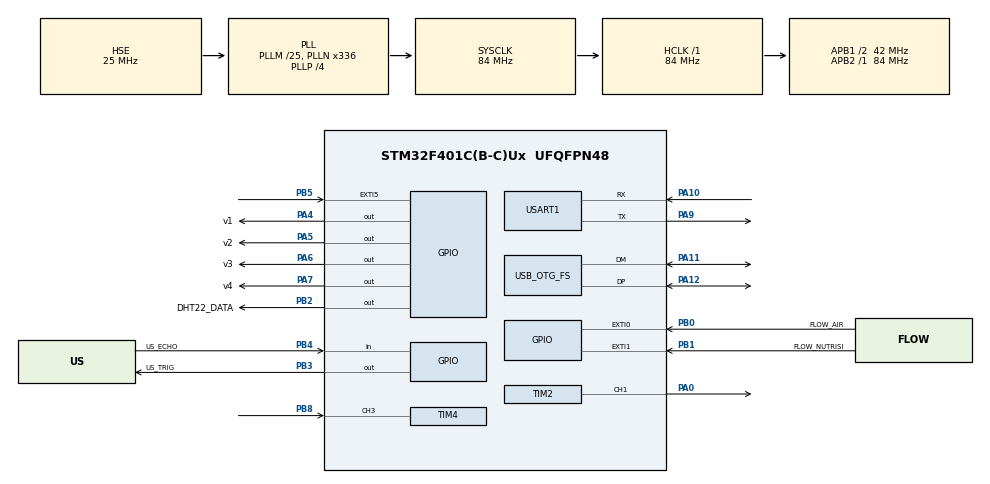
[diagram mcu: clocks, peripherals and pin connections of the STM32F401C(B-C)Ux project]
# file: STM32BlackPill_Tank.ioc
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Dma.Request0=TIM4_CH3
Dma.TIM4_CH3.0.Direction=DMA_PERIPH_TO_MEMORY
Dma.TIM4_CH3.0.FIFOMode=DMA_FIFOMODE_DISABLE
Dma.TIM4_CH3.0.Instance=DMA1_Stream7
Dma.TIM4_CH3.0.MemDataAlignment=DMA_MDATAALIGN_WORD
Dma.TIM4_CH3.0.MemInc=DMA_MINC_ENABLE
Dma.TIM4_CH3.0.Mode=DMA_NORMAL
Dma.TIM4_CH3.0.PeriphDataAlignment=DMA_PDATAALIGN_WORD
Dma.TIM4_CH3.0.PeriphInc=DMA_PINC_DISABLE
Dma.TIM4_CH3.0.Priority=DMA_PRIORITY_LOW
FREERTOS.Tasks01=defaultTask,0,128,StartDefaultTask,Default,NULL,Dynamic,NULL,NULL;TaskTelemetry,0,512,StartTaskTelemetry,Default,NULL,Dynamic,NULL,NULL;TaskIrrigation,0,256,StartTaskIrrigation,Default,NULL,Dynamic,NULL,NULL
FREERTOS.configUSE_NEWLIB_REENTRANT=1
Mcu.Family=STM32F4
Mcu.Name=STM32F401C(B-C)Ux
Mcu.Package=UFQFPN48
NVIC.DMA1_Stream7_IRQn=true\:5\:0\:false\:false\:true\:true\:false\:true\:true
NVIC.EXTI0_IRQn=true\:5\:0\:false\:false\:true\:true\:true\:true\:true
NVIC.EXTI1_IRQn=true\:5\:0\:false\:false\:true\:true\:true\:true\:true
NVIC.EXTI9_5_IRQn=true\:5\:0\:false\:false\:true\:true\:true\:true\:true
NVIC.OTG_FS_IRQn=true\:5\:0\:false\:false\:true\:true\:false\:true\:true
NVIC.PriorityGroup=NVIC_PRIORITYGROUP_4
NVIC.TIM5_IRQn=true\:15\:0\:false\:false\:true\:false\:false\:true\:true
NVIC.TimeBase=TIM5_IRQn
NVIC.TimeBaseIP=TIM5
NVIC.USART1_IRQn=true\:5\:0\:false\:false\:true\:true\:true\:true\:true
PA0-WKUP.Signal=S_TIM2_CH1_ETR
PA10.Mode=Asynchronous
PA10.Signal=USART1_RX
PA11.Mode=Device_Only
PA11.Signal=USB_OTG_FS_DM
PA12.Mode=Device_Only
PA12.Signal=USB_OTG_FS_DP
PA4.GPIO_Label=v1
PA4.Signal=GPIO_Output
PA5.GPIO_Label=v2
PA5.Signal=GPIO_Output
PA6.GPIO_Label=v3
PA6.Signal=GPIO_Output
PA7.GPIO_Label=v4
PA7.Signal=GPIO_Output
PA9.Mode=Asynchronous
PA9.Signal=USART1_TX
PB0.GPIO_Label=FLOW_AIR
PB0.Signal=GPXTI0
PB1.GPIO_Label=FLOW_NUTRISI
PB1.Signal=GPXTI1
PB2.GPIO_Label=DHT22_DATA
PB2.GPIO_ModeDefaultOutputPP=GPIO_MODE_OUTPUT_OD
PB2.GPIO_PuPd=GPIO_NOPULL
PB2.GPIO_Speed=GPIO_SPEED_FREQ_HIGH
PB2.Signal=GPIO_Output
PB3.GPIO_Label=US_TRIG
PB3.Signal=GPIO_Output
PB4.GPIO_Label=US_ECHO
PB4.Signal=GPIO_Input
PB5.GPIO_ModeDefaultEXTI=GPIO_MODE_IT_FALLING
PB5.GPIO_PuPd=GPIO_PULLUP
PB5.Signal=GPXTI5
PB8.Signal=S_TIM4_CH3
PH0\ -\ OSC_IN.Mode=HSE-External-Oscillator
PH0\ -\ OSC_IN.Signal=RCC_OSC_IN
PH1\ -\ OSC_OUT.Mode=HSE-External-Oscillator
PH1\ -\ OSC_OUT.Signal=RCC_OSC_OUT
ProjectManager.HeapSize=0x200
ProjectManager.StackSize=0x400
ProjectManager.TargetToolchain=STM32CubeIDE
RCC.48MHZClocksFreq_Value=48000000
RCC.AHBFreq_Value=84000000
RCC.APB1CLKDivider=RCC_HCLK_DIV2
RCC.APB1Freq_Value=42000000
RCC.APB1TimFreq_Value=84000000
RCC.APB2Freq_Value=84000000
RCC.APB2TimFreq_Value=84000000
RCC.CortexFreq_Value=84000000
RCC.HCLKFreq_Value=84000000
RCC.HSE_VALUE=25000000
RCC.HSI_VALUE=16000000
RCC.LSE_VALUE=32768
RCC.PLLM=25
RCC.PLLN=336
RCC.PLLP=RCC_PLLP_DIV4
RCC.PLLQ=7
RCC.SYSCLKFreq_VALUE=84000000
RCC.SYSCLKSource=RCC_SYSCLKSOURCE_PLLCLK
RCC.VCOOutputFreq_Value=336000000
SH.S_TIM2_CH1_ETR.0=TIM2_CH1,PWM Generation1 CH1
SH.S_TIM4_CH3.0=TIM4_CH3,Input_Capture3_from_TI3
TIM2.Channel-PWM\ Generation1\ CH1=TIM_CHANNEL_1
TIM2.Period=100
TIM2.Prescaler=41
TIM4.Channel-Input_Capture3_from_TI3=TIM_CHANNEL_3
TIM4.ICPolarity_CH3=TIM_INPUTCHANNELPOLARITY_FALLING
TIM4.Prescaler=83
USART1.VirtualMode=VM_ASYNC
USB_DEVICE.CLASS_NAME_FS=CDC
USB_DEVICE.VirtualMode=Cdc
USB_DEVICE.VirtualModeFS=Cdc_FS
USB_OTG_FS.VirtualMode=Device_Only
VP_FREERTOS_VS_CMSIS_V1.Mode=CMSIS_V1
VP_RTC_VS_RTC_Activate.Mode=RTC_Enabled
VP_SYS_VS_tim5.Mode=TIM5
VP_TIM4_VS_ClockSourceINT.Mode=Internal
VP_USB_DEVICE_VS_USB_DEVICE_CDC_FS.Mode=CDC_FS
board=custom

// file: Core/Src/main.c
/* USER CODE BEGIN Header */
/**
 ******************************************************************************
 * @file           : main.c
 * @brief          : Main program body
 ******************************************************************************
 * @attention
 *
 * Copyright (c) 2026 STMicroelectronics.
 * All rights reserved.
 *
 * This software is licensed under terms that can be found in the LICENSE file
 * in the root directory of this software component.
 * If no LICENSE file comes with this software, it is provided AS-IS.
 *
 ******************************************************************************
 */
/* USER CODE END Header */
#include "main.h"
#include "cmsis_os.h"
#include "usb_device.h"

/* USER CODE BEGIN Includes */
#include "usbd_cdc_if.h"
#include <math.h>
#include <stdio.h>
#include <stdlib.h>
#include <string.h>

/* USER CODE END Includes */

/* USER CODE BEGIN PD */
#define PORT_VALVE GPIOA
#define VALVE_AIR GPIO_PIN_4
#define VALVE_NUTRISI GPIO_PIN_5
#define VALVE_MIX GPIO_PIN_6
#define VALVE_IRIGASI GPIO_PIN_7

#define POMPA_ON(speed) __HAL_TIM_SET_COMPARE(&htim2, TIM_CHANNEL_1, speed)
#define POMPA_OFF() __HAL_TIM_SET_COMPARE(&htim2, TIM_CHANNEL_1, 0)
#define VALVE_ON(pin) HAL_GPIO_WritePin(PORT_VALVE, pin, GPIO_PIN_SET)
#define VALVE_OFF(pin) HAL_GPIO_WritePin(PORT_VALVE, pin, GPIO_PIN_RESET)

#define VALVE_OFF_ALL()                                                        \
  do {                                                                         \
    VALVE_OFF(VALVE_AIR);                                                      \
    VALVE_OFF(VALVE_NUTRISI);                                                  \
    VALVE_OFF(VALVE_MIX);                                                      \
    VALVE_OFF(VALVE_IRIGASI);                                                  \
  } while (0)

#define CAIRAN_AIR 0
#define CAIRAN_NUTRISI 1
/* USER CODE END PD */

RTC_HandleTypeDef hrtc;

TIM_HandleTypeDef htim2;
TIM_HandleTypeDef htim4;
DMA_HandleTypeDef hdma_tim4_ch3;

UART_HandleTypeDef huart1;

osThreadId defaultTaskHandle;
osThreadId TaskTelemetryHandle;
osThreadId TaskIrrigationHandle;
/* USER CODE BEGIN PV */
volatile uint32_t water_pulse_count = 0;
volatile uint32_t nutrisi_pulse_count = 0;

volatile float current_vpd = 1.0f;
volatile float current_moisture = 100.0f;
volatile uint8_t flag_manual_air = 0;
volatile uint8_t flag_manual_nutrisi = 0;
char status_mesin[32] = "STANDBY"; // Buat laporan ke aplikasi

volatile uint8_t status_data_valid = 0;

volatile uint32_t total_siklus_irigasi = 0;

volatile uint32_t tick_siram_berikutnya = 0;
volatile uint8_t mesin_sedang_menyiram = 0;

uint8_t rxByte;
char rxBuffer[512];
volatile uint16_t rxIndex = 0;

uint32_t dma_capture_data[42];

volatile uint8_t latch_dosing_event = 0;
volatile uint8_t is_auto_mode = 0;
/* USER CODE END PV */

void SystemClock_Config(void);
static void MX_GPIO_Init(void);
static void MX_DMA_Init(void);
static void MX_USART1_UART_Init(void);
static void MX_TIM2_Init(void);
static void MX_TIM4_Init(void);
static void MX_RTC_Init(void);
void StartDefaultTask(void const *argument);
void StartTaskTelemetry(void const *argument);
void StartTaskIrrigation(void const *argument);

/* USER CODE BEGIN 0 */
int _write(int file, char *ptr, int len) {
  // Tembak data printf langsung ke port USB Type-C
  CDC_Transmit_FS((uint8_t *)ptr, len);

  // Kasih delay super tipis biar buffer USB ga jebol kalau datanya kepanjangan
  osDelay(2);
  return len;
}

typedef struct {
  uint8_t valve_1;  // Valve Air
  uint8_t valve_2;  // Valve Nutrisi
  uint8_t valve_3;  // Valve Mix
  uint8_t valve_4;  // Valve Irigasi
  uint8_t pump_pwm; // Nilai 0 - 100
} SogaActuator_t;

SogaActuator_t FarmActuators = {0, 0, 0, 0, 0}; // Default mati semua

void DWT_Init(void) {
  CoreDebug->DEMCR |= CoreDebug_DEMCR_TRCENA_Msk;

  DWT->CTRL |= DWT_CTRL_CYCCNTENA_Msk;
}

void delay_us(uint16_t us) {
  //    __HAL_TIM_SET_COUNTER(&htim3, 0);
  //    while (__HAL_TIM_GET_COUNTER(&htim3) < us) {
  //    }
}

// Helper untuk mengubah pin PB2 menjadi Output
void DHT_Set_Pin_Output(void) {
  GPIO_InitTypeDef GPIO_InitStruct = {0};
  GPIO_InitStruct.Pin = GPIO_PIN_2;
  GPIO_InitStruct.Mode = GPIO_MODE_OUTPUT_PP;
  GPIO_InitStruct.Speed = GPIO_SPEED_FREQ_HIGH;
  HAL_GPIO_Init(GPIOB, &GPIO_InitStruct);
}

// Helper untuk mengubah pin PB2 menjadi Input (Pull-Up)
void DHT_Set_Pin_Input(void) {
  GPIO_InitTypeDef GPIO_InitStruct = {0};
  GPIO_InitStruct.Pin = GPIO_PIN_2;
  GPIO_InitStruct.Mode = GPIO_MODE_INPUT;
  GPIO_InitStruct.Pull = GPIO_PULLUP;
  HAL_GPIO_Init(GPIOB, &GPIO_InitStruct);
}

void ParseActuatorJSON(char *jsonBuffer, SogaActuator_t *actuators) {
  char *ptr;
  int temp_val;

  // Pakai int sementara biar sscanf newlib-nano GCC nggak error
  if ((ptr = strstr(jsonBuffer, "\"v1\":")) != NULL) {
    sscanf(ptr, "\"v1\":%d", &temp_val);
    actuators->valve_1 = temp_val;
  }
  if ((ptr = strstr(jsonBuffer, "\"v2\":")) != NULL) {
    sscanf(ptr, "\"v2\":%d", &temp_val);
    actuators->valve_2 = temp_val;
  }
  if ((ptr = strstr(jsonBuffer, "\"v3\":")) != NULL) {
    sscanf(ptr, "\"v3\":%d", &temp_val);
    actuators->valve_3 = temp_val;
  }
  if ((ptr = strstr(jsonBuffer, "\"v4\":")) != NULL) {
    sscanf(ptr, "\"v4\":%d", &temp_val);
    actuators->valve_4 = temp_val;
  }

  // Parse PWM Pompa (Batasi maksimal 100 biar hardware ga jebol)
  if ((ptr = strstr(jsonBuffer, "\"pwm\":")) != NULL) {
    sscanf(ptr, "\"pwm\":%d", &temp_val);
    actuators->pump_pwm = (temp_val > 100) ? 100 : temp_val;
  }
}

void ApplyHardwareState(SogaActuator_t *actuators) {
  // Eksekusi Relay Valve
  HAL_GPIO_WritePin(GPIOA, GPIO_PIN_4,
                    actuators->valve_1 ? GPIO_PIN_SET : GPIO_PIN_RESET);
  HAL_GPIO_WritePin(GPIOA, GPIO_PIN_5,
                    actuators->valve_2 ? GPIO_PIN_SET : GPIO_PIN_RESET);
  HAL_GPIO_WritePin(GPIOA, GPIO_PIN_6,
                    actuators->valve_3 ? GPIO_PIN_SET : GPIO_PIN_RESET);
  HAL_GPIO_WritePin(GPIOA, GPIO_PIN_7,
                    actuators->valve_4 ? GPIO_PIN_SET : GPIO_PIN_RESET);

  // Eksekusi PWM Pompa
  __HAL_TIM_SET_COMPARE(&htim2, TIM_CHANNEL_1, actuators->pump_pwm);
}

void TriggerEmergencyStop() {
  FarmActuators.valve_1 = 0;
  FarmActuators.valve_2 = 0;
  FarmActuators.valve_3 = 0;
  FarmActuators.valve_4 = 0;
  FarmActuators.pump_pwm = 0;
  ApplyHardwareState(&FarmActuators);
}

void HAL_UART_RxCpltCallback(UART_HandleTypeDef *huart) {
  if (huart->Instance == USART1) {
    // Jika mendeteksi karakter Enter (\n), paket JSON selesai dikirim
    if (rxByte == '\n') {
      rxBuffer[rxIndex] = '\0'; // Kunci string
      rxIndex = 0;              // Reset index untuk paket selanjutnya

      // BANGUNKAN TASK 1 SEKETIKA DARI DALAM INTERUPSI!
      BaseType_t xHigherPriorityTaskWoken = pdFALSE;
      vTaskNotifyGiveFromISR(TaskTelemetryHandle, &xHigherPriorityTaskWoken);
      portYIELD_FROM_ISR(xHigherPriorityTaskWoken);
    } else {
      // Amankan dari Over-Buffer yang bisa bikin STM32 crash
      if (rxIndex < sizeof(rxBuffer) - 1) {
        rxBuffer[rxIndex++] = rxByte;
      } else {
        rxIndex = 0;
      }
    }

    // RE-ARM: Aktifkan kembali interupsi untuk menunggu byte berikutnya
    // BUG HAL: Buka paksa lock agar tidak bertabrakan dengan HAL_UART_Transmit
    huart->Lock = HAL_UNLOCKED;
    HAL_UART_Receive_IT(huart, &rxByte, 1);
  }
}

// FUNGSI PENYELAMAT: Jika terjadi Overrun Error (interrupt telat merespon
// karena CPU sibuk), HAL akan mematikan receiver selamanya. Fungsi ini akan
// membangkitkan receiver kembali!
void HAL_UART_ErrorCallback(UART_HandleTypeDef *huart) {
  if (huart->Instance == USART1) {
    // Bersihkan semua bendera error (Overrun, Noise, Frame Error)
    __HAL_UART_CLEAR_OREFLAG(huart);
    __HAL_UART_CLEAR_NEFLAG(huart);
    __HAL_UART_CLEAR_FEFLAG(huart);

    // Buka paksa lock dan nyalakan lagi interupsi RX!
    huart->Lock = HAL_UNLOCKED;
    HAL_UART_Receive_IT(huart, &rxByte, 1);
  }
}

void HAL_GPIO_EXTI_Callback(uint16_t GPIO_Pin) {
  if (GPIO_Pin == GPIO_PIN_0) // PB0 (Flow Sensor Air)
  {
    water_pulse_count++;
  } else if (GPIO_Pin == GPIO_PIN_1) // PB1 (Flow Sensor Nutrisi)
  {
    nutrisi_pulse_count++;
  } else if (GPIO_Pin == GPIO_PIN_5) // PB5 (Tombol Manual / Bypass)
  {
    static uint32_t last_press_time = 0;
    if (osKernelSysTick() - last_press_time > 300) // Jeda 300ms
    {
      last_press_time = osKernelSysTick();

      // COBA BANGUNKAN TASK IRIGASI SECARA PAKSA!
      BaseType_t xHigherPriorityTaskWoken = pdFALSE;
      vTaskNotifyGiveFromISR(TaskIrrigationHandle, &xHigherPriorityTaskWoken);
      portYIELD_FROM_ISR(xHigherPriorityTaskWoken);
    }
  }
}

uint8_t TakarCairan(uint8_t tipe_cairan, float target_liter) {
  uint32_t target_pulse = 0;
  volatile uint32_t *p_pulse_count = NULL; // Pointer penunjuk alamat RAM

  // Pemilihan Sensor & Kalibrasi Dinamis Berdasarkan Karakteristik Cairan
  if (tipe_cairan == CAIRAN_AIR) {
    target_pulse =
        (uint32_t)(target_liter * 450.0f); // Kalibrasi Air (1L = 450 pulse)
    p_pulse_count = &water_pulse_count;    // Arahkan pointer ke RAM Air
    printf("[DOSING] Menakar %.2f L Air Murni...\n", target_liter);
  } else if (tipe_cairan == CAIRAN_NUTRISI) {
    // Info: Cairan nutrisi pekat biasanya lebih kental,
    // nilai kalibrasi (misal 465.0f) bisa disesuaikan dengan massa jenisnya
    // nanti
    target_pulse = (uint32_t)(target_liter * 465.0f);
    p_pulse_count = &nutrisi_pulse_count; // Arahkan pointer ke RAM Nutrisi
    printf("[DOSING] Menakar %.2f L Nutrisi Pekat...\n", target_liter);
  }

  if (p_pulse_count == NULL)
    return 0; // Guard clause keselamatan memori

  *p_pulse_count = 0; // Reset counter sensor terpilih ke angka 0 lewat pointer
  uint32_t safety_timer = 0;

  // Looping Tunggu Cairan Sampai Target Tercapai
  while (*p_pulse_count < target_pulse) {
    uint32_t pulse_awal = *p_pulse_count;

    osDelay(100);
    safety_timer += 100;

    // Timeout Safety System (Jika air/nutrisi mampet 5 detik, matikan sekering)
    if ((*p_pulse_count == pulse_awal) && (safety_timer > 5000)) {
      printf("[FATAL ERROR] Aliran Macet pada Saluran Tipe: %d!\n",
             tipe_cairan);
      return 0; // Fail
    }

    if (*p_pulse_count > pulse_awal) {
      safety_timer = 0; // Reset safety timer karena cairan mengalir deras
    }
  }

  printf("[DOSING] Sukses! Cairan tipe %d tertakar sempurna.\n", tipe_cairan);
  return 1; // Success
}

float Read_MixingTank_Distance(void) {
  // Pastikan Trig LOW dulu
  HAL_GPIO_WritePin(GPIOB, GPIO_PIN_3, GPIO_PIN_RESET);
  delay_us(2);

  // Tembak pulsa 10 mikrodetik ke pin TRIG AJ-SR04M
  HAL_GPIO_WritePin(GPIOB, GPIO_PIN_3, GPIO_PIN_SET);
  delay_us(10);
  HAL_GPIO_WritePin(GPIOB, GPIO_PIN_3, GPIO_PIN_RESET);

  uint32_t timeout = 500000;
  // Tunggu sampai pin ECHO bernilai HIGH
  while (HAL_GPIO_ReadPin(GPIOB, GPIO_PIN_4) == GPIO_PIN_RESET) {
    if (--timeout == 0)
      return -1.0f; // Batalkan jika sensor putus
  }

  uint32_t startTime = DWT->CYCCNT;
  timeout = 500000;
  // Hitung berapa lama pin ECHO bernilai HIGH
  while (HAL_GPIO_ReadPin(GPIOB, GPIO_PIN_4) == GPIO_PIN_SET) {
    if (--timeout == 0)
      return -1.0f;
  }
  uint32_t durationTicks = DWT->CYCCNT - startTime;

  // Konversi tick prosessor ke mikrodetik, lalu hitung jarak (cm)
  float durationUs =
      (float)durationTicks / ((float)HAL_RCC_GetHCLKFreq() / 1000000.0f);
  return (durationUs * 0.0343f) / 2.0f;
}

uint8_t IsTankEmpty(void) {
  float distance = Read_MixingTank_Distance();
  if (distance > 27.0f || distance < 0) {
    return 1;
  }
  return 0;
}

void Get_SystemUptime(char *timeBuffer) {
  uint32_t total_seconds = osKernelSysTick() / 1000;
  uint32_t hours = total_seconds / 3600;
  total_seconds %= 3600;
  uint32_t minutes = total_seconds / 60;
  uint32_t seconds = total_seconds % 60;

  sprintf(timeBuffer, "%02lu:%02lu:%02lu", hours, minutes, seconds);
}

/* ============= IRRIGATION CONTROL SYSTEM ============= */
#define DWELL_TIME_MS 900000 // 15 min (Kompensasi pure dead-time)
#define DEADBAND_PCT 5.0f    // Histeresis: Jangan aktuasi jika error < 5%
#define SP_MIN 70.0f         // Batas bawah setpoint (Kondisi sejuk)
#define SP_MAX 80.0f // Batas atas setpoint (Kondisi panas/kering ekstrem)

volatile float dynamic_sp = 70.0f;         // Inisialisasi Dynamic setpoint
volatile uint8_t latch_nutrient_event = 0; // Latch untuk event nutrisi

/**
 * @brief Menghitung Dynamic Setpoint berbasis Feed-Forward VPD
 * @param vpd Nilai Vapor Pressure Deficit (kPa) dari sensor udara
 * @retval Target persentase kelembapan tanah (%)
 */
float compute_dynamic_sp(float vpd) {
  // Persamaan Linier Feed-Forward: Base SP = 70%, Gain = 5.0 per satuan VPD
  // Contoh: VPD 1.0 kPa -> SP 75.0% | VPD 2.0 kPa -> SP 80.0%
  float sp = 70.0f + (5.0f * vpd);

  // Anti-Windup / Saturasi Proteksi
  if (sp < SP_MIN) {
    sp = SP_MIN;
  }
  if (sp > SP_MAX) {
    sp = SP_MAX;
  }

  return sp;
}
void report_control_state(float vpd, float sp, float pv, float error,
                          const char *action) {
  char buf[200];
  snprintf(buf, sizeof(buf),
           "{\"type\":\"control_state\",\"vpd\":%.2f,\"sp\":%.1f,\"pv\":%.1f,"
           "\"error\":%.1f,\"action\":\"%s\"}\n",
           vpd, sp, pv, error, action);
  HAL_UART_Transmit(&huart1, (uint8_t *)buf, strlen(buf), 100);
}
/* USER CODE END 0 */

int main(void) {

  /* MCU Configuration--------------------------------------------------------*/

  /* Reset of all peripherals, Initializes the Flash interface and the Systick.
   */
  HAL_Init();

  /* Configure the system clock */
  SystemClock_Config();

  /* Initialize all configured peripherals */
  MX_GPIO_Init();
  MX_DMA_Init();
  MX_USART1_UART_Init();
  MX_TIM2_Init();
  MX_TIM4_Init();
  MX_RTC_Init();
  /* USER CODE BEGIN 2 */
  //  HAL_TIM_Base_Start(&htim3);
  //    printf("[SYSTEM] Hardware Timer 3 Mikrodetik Aktif!\n");
  /* USER CODE END 2 */

  /* Create the thread(s) */
  /* definition and creation of defaultTask */
  osThreadDef(defaultTask, StartDefaultTask, osPriorityNormal, 0, 128);
  defaultTaskHandle = osThreadCreate(osThread(defaultTask), NULL);

  /* definition and creation of TaskTelemetry */
  osThreadDef(TaskTelemetry, StartTaskTelemetry, osPriorityNormal, 0, 512);
  TaskTelemetryHandle = osThreadCreate(osThread(TaskTelemetry), NULL);

  /* definition and creation of TaskIrrigation */
  osThreadDef(TaskIrrigation, StartTaskIrrigation, osPriorityNormal, 0, 256);
  TaskIrrigationHandle = osThreadCreate(osThread(TaskIrrigation), NULL);

  /* Start scheduler */
  osKernelStart();

  /* We should never get here as control is now taken by the scheduler */

  /* Infinite loop */
  while (1) {

  }
}

void SystemClock_Config(void) {
  RCC_OscInitTypeDef RCC_OscInitStruct = {0};
  RCC_ClkInitTypeDef RCC_ClkInitStruct = {0};

  /** Configure the main internal regulator output voltage
   */
  __HAL_RCC_PWR_CLK_ENABLE();
  __HAL_PWR_VOLTAGESCALING_CONFIG(PWR_REGULATOR_VOLTAGE_SCALE2);

  /** Initializes the RCC Oscillators according to the specified parameters
   * in the RCC_OscInitTypeDef structure.
   */
  RCC_OscInitStruct.OscillatorType =
      RCC_OSCILLATORTYPE_LSI | RCC_OSCILLATORTYPE_HSE;
  RCC_OscInitStruct.HSEState = RCC_HSE_ON;
  RCC_OscInitStruct.LSIState = RCC_LSI_ON;
  RCC_OscInitStruct.PLL.PLLState = RCC_PLL_ON;
  RCC_OscInitStruct.PLL.PLLSource = RCC_PLLSOURCE_HSE;
  RCC_OscInitStruct.PLL.PLLM = 25;
  RCC_OscInitStruct.PLL.PLLN = 336;
  RCC_OscInitStruct.PLL.PLLP = RCC_PLLP_DIV4;
  RCC_OscInitStruct.PLL.PLLQ = 7;
  if (HAL_RCC_OscConfig(&RCC_OscInitStruct) != HAL_OK) {
    Error_Handler();
  }

  /** Initializes the CPU, AHB and APB buses clocks
   */
  RCC_ClkInitStruct.ClockType = RCC_CLOCKTYPE_HCLK | RCC_CLOCKTYPE_SYSCLK |
                                RCC_CLOCKTYPE_PCLK1 | RCC_CLOCKTYPE_PCLK2;
  RCC_ClkInitStruct.SYSCLKSource = RCC_SYSCLKSOURCE_PLLCLK;
  RCC_ClkInitStruct.AHBCLKDivider = RCC_SYSCLK_DIV1;
  RCC_ClkInitStruct.APB1CLKDivider = RCC_HCLK_DIV2;
  RCC_ClkInitStruct.APB2CLKDivider = RCC_HCLK_DIV1;

  if (HAL_RCC_ClockConfig(&RCC_ClkInitStruct, FLASH_LATENCY_2) != HAL_OK) {
    Error_Handler();
  }
}

static void MX_RTC_Init(void) {

  /** Initialize RTC Only
   */
  hrtc.Instance = RTC;
  hrtc.Init.HourFormat = RTC_HOURFORMAT_24;
  hrtc.Init.AsynchPrediv = 127;
  hrtc.Init.SynchPrediv = 255;
  hrtc.Init.OutPut = RTC_OUTPUT_DISABLE;
  hrtc.Init.OutPutPolarity = RTC_OUTPUT_POLARITY_HIGH;
  hrtc.Init.OutPutType = RTC_OUTPUT_TYPE_OPENDRAIN;
  if (HAL_RTC_Init(&hrtc) != HAL_OK) {
    Error_Handler();
  }
}

static void MX_TIM2_Init(void) {

  TIM_MasterConfigTypeDef sMasterConfig = {0};
  TIM_OC_InitTypeDef sConfigOC = {0};

  htim2.Instance = TIM2;
  htim2.Init.Prescaler = 41;
  htim2.Init.CounterMode = TIM_COUNTERMODE_UP;
  htim2.Init.Period = 100;
  htim2.Init.ClockDivision = TIM_CLOCKDIVISION_DIV1;
  htim2.Init.AutoReloadPreload = TIM_AUTORELOAD_PRELOAD_DISABLE;
  if (HAL_TIM_PWM_Init(&htim2) != HAL_OK) {
    Error_Handler();
  }
  sMasterConfig.MasterOutputTrigger = TIM_TRGO_RESET;
  sMasterConfig.MasterSlaveMode = TIM_MASTERSLAVEMODE_DISABLE;
  if (HAL_TIMEx_MasterConfigSynchronization(&htim2, &sMasterConfig) != HAL_OK) {
    Error_Handler();
  }
  sConfigOC.OCMode = TIM_OCMODE_PWM1;
  sConfigOC.Pulse = 0;
  sConfigOC.OCPolarity = TIM_OCPOLARITY_HIGH;
  sConfigOC.OCFastMode = TIM_OCFAST_DISABLE;
  if (HAL_TIM_PWM_ConfigChannel(&htim2, &sConfigOC, TIM_CHANNEL_1) != HAL_OK) {
    Error_Handler();
  }
  HAL_TIM_MspPostInit(&htim2);
}

static void MX_TIM4_Init(void) {

  TIM_ClockConfigTypeDef sClockSourceConfig = {0};
  TIM_MasterConfigTypeDef sMasterConfig = {0};
  TIM_IC_InitTypeDef sConfigIC = {0};

  htim4.Instance = TIM4;
  htim4.Init.Prescaler = 83;
  htim4.Init.CounterMode = TIM_COUNTERMODE_UP;
  htim4.Init.Period = 65535;
  htim4.Init.ClockDivision = TIM_CLOCKDIVISION_DIV1;
  htim4.Init.AutoReloadPreload = TIM_AUTORELOAD_PRELOAD_DISABLE;
  if (HAL_TIM_Base_Init(&htim4) != HAL_OK) {
    Error_Handler();
  }
  sClockSourceConfig.ClockSource = TIM_CLOCKSOURCE_INTERNAL;
  if (HAL_TIM_ConfigClockSource(&htim4, &sClockSourceConfig) != HAL_OK) {
    Error_Handler();
  }
  if (HAL_TIM_IC_Init(&htim4) != HAL_OK) {
    Error_Handler();
  }
  sMasterConfig.MasterOutputTrigger = TIM_TRGO_RESET;
  sMasterConfig.MasterSlaveMode = TIM_MASTERSLAVEMODE_DISABLE;
  if (HAL_TIMEx_MasterConfigSynchronization(&htim4, &sMasterConfig) != HAL_OK) {
    Error_Handler();
  }
  sConfigIC.ICPolarity = TIM_INPUTCHANNELPOLARITY_FALLING;
  sConfigIC.ICSelection = TIM_ICSELECTION_DIRECTTI;
  sConfigIC.ICPrescaler = TIM_ICPSC_DIV1;
  sConfigIC.ICFilter = 0;
  if (HAL_TIM_IC_ConfigChannel(&htim4, &sConfigIC, TIM_CHANNEL_3) != HAL_OK) {
    Error_Handler();
  }
}

static void MX_USART1_UART_Init(void) {

  huart1.Instance = USART1;
  huart1.Init.BaudRate = 115200;
  huart1.Init.WordLength = UART_WORDLENGTH_8B;
  huart1.Init.StopBits = UART_STOPBITS_1;
  huart1.Init.Parity = UART_PARITY_NONE;
  huart1.Init.Mode = UART_MODE_TX_RX;
  huart1.Init.HwFlowCtl = UART_HWCONTROL_NONE;
  huart1.Init.OverSampling = UART_OVERSAMPLING_16;
  if (HAL_UART_Init(&huart1) != HAL_OK) {
    Error_Handler();
  }
}

static void MX_DMA_Init(void) {

  /* DMA controller clock enable */
  __HAL_RCC_DMA1_CLK_ENABLE();

  /* DMA interrupt init */
  /* DMA1_Stream7_IRQn interrupt configuration */
  HAL_NVIC_SetPriority(DMA1_Stream7_IRQn, 5, 0);
  HAL_NVIC_EnableIRQ(DMA1_Stream7_IRQn);
}

static void MX_GPIO_Init(void) {
  GPIO_InitTypeDef GPIO_InitStruct = {0};

  /* GPIO Ports Clock Enable */
  __HAL_RCC_GPIOH_CLK_ENABLE();
  __HAL_RCC_GPIOA_CLK_ENABLE();
  __HAL_RCC_GPIOB_CLK_ENABLE();

  /*Configure GPIO pin Output Level */
  HAL_GPIO_WritePin(GPIOA, v1_Pin | v2_Pin | v3_Pin | v4_Pin, GPIO_PIN_RESET);

  /*Configure GPIO pin Output Level */
  HAL_GPIO_WritePin(GPIOB, DHT22_DATA_Pin | US_TRIG_Pin, GPIO_PIN_RESET);

  /*Configure GPIO pins : v1_Pin v2_Pin v3_Pin v4_Pin */
  GPIO_InitStruct.Pin = v1_Pin | v2_Pin | v3_Pin | v4_Pin;
  GPIO_InitStruct.Mode = GPIO_MODE_OUTPUT_PP;
  GPIO_InitStruct.Pull = GPIO_NOPULL;
  GPIO_InitStruct.Speed = GPIO_SPEED_FREQ_LOW;
  HAL_GPIO_Init(GPIOA, &GPIO_InitStruct);

  /*Configure GPIO pins : FLOW_AIR_Pin FLOW_NUTRISI_Pin */
  GPIO_InitStruct.Pin = FLOW_AIR_Pin | FLOW_NUTRISI_Pin;
  GPIO_InitStruct.Mode = GPIO_MODE_IT_RISING;
  GPIO_InitStruct.Pull = GPIO_NOPULL;
  HAL_GPIO_Init(GPIOB, &GPIO_InitStruct);

  /*Configure GPIO pin : DHT22_DATA_Pin */
  GPIO_InitStruct.Pin = DHT22_DATA_Pin;
  GPIO_InitStruct.Mode = GPIO_MODE_OUTPUT_OD;
  GPIO_InitStruct.Pull = GPIO_NOPULL;
  GPIO_InitStruct.Speed = GPIO_SPEED_FREQ_HIGH;
  HAL_GPIO_Init(DHT22_DATA_GPIO_Port, &GPIO_InitStruct);

  /*Configure GPIO pin : US_TRIG_Pin */
  GPIO_InitStruct.Pin = US_TRIG_Pin;
  GPIO_InitStruct.Mode = GPIO_MODE_OUTPUT_PP;
  GPIO_InitStruct.Pull = GPIO_NOPULL;
  GPIO_InitStruct.Speed = GPIO_SPEED_FREQ_LOW;
  HAL_GPIO_Init(US_TRIG_GPIO_Port, &GPIO_InitStruct);

  /*Configure GPIO pin : US_ECHO_Pin */
  GPIO_InitStruct.Pin = US_ECHO_Pin;
  GPIO_InitStruct.Mode = GPIO_MODE_INPUT;
  GPIO_InitStruct.Pull = GPIO_NOPULL;
  HAL_GPIO_Init(US_ECHO_GPIO_Port, &GPIO_InitStruct);

  /*Configure GPIO pin : PB5 */
  GPIO_InitStruct.Pin = GPIO_PIN_5;
  GPIO_InitStruct.Mode = GPIO_MODE_IT_FALLING;
  GPIO_InitStruct.Pull = GPIO_PULLUP;
  HAL_GPIO_Init(GPIOB, &GPIO_InitStruct);

  /* EXTI interrupt init*/
  HAL_NVIC_SetPriority(EXTI0_IRQn, 5, 0);
  HAL_NVIC_EnableIRQ(EXTI0_IRQn);

  HAL_NVIC_SetPriority(EXTI1_IRQn, 5, 0);
  HAL_NVIC_EnableIRQ(EXTI1_IRQn);

  HAL_NVIC_SetPriority(EXTI9_5_IRQn, 5, 0);
  HAL_NVIC_EnableIRQ(EXTI9_5_IRQn);

}

void StartDefaultTask(void const *argument) {
  /* init code for USB_DEVICE */
  MX_USB_DEVICE_Init();
  for (;;) {
    osDelay(1);
  }
}

void StartTaskTelemetry(void const *argument) {
  /* USER CODE BEGIN StartTaskTelemetry */
  /* Infinite loop */
  char jsonTxBuffer[256];
  uint32_t last_tx_time = osKernelSysTick();

  HAL_UART_Receive_IT(&huart1, &rxByte, 1);
  printf("[SYSTEM] Task Telemetri Tank Siap Tempur!\n");

  for (;;) {
    // ========================================================
    // 1. INBOUND (RX) - BACA DATA MONITOR ATAU PERINTAH
    // ========================================================
    uint32_t rx_notif = ulTaskNotifyTake(pdTRUE, pdMS_TO_TICKS(50));

    if (rx_notif > 0) {
      if (strstr(rxBuffer, "\"cmd\":\"sync_rtc\"") != NULL) {
        int jam = 0, menit = 0, detik = 0;

        char *ptr_h = strstr(rxBuffer, "\"h\":");
        char *ptr_m = strstr(rxBuffer, "\"m\":");
        char *ptr_s = strstr(rxBuffer, "\"s\":");

        if (ptr_h)
          sscanf(ptr_h, "\"h\":%d", &jam);
        if (ptr_m)
          sscanf(ptr_m, "\"m\":%d", &menit);
        if (ptr_s)
          sscanf(ptr_s, "\"s\":%d", &detik);

        RTC_TimeTypeDef sTime = {0};
        sTime.Hours = (uint8_t)jam;
        sTime.Minutes = (uint8_t)menit;
        sTime.Seconds = (uint8_t)detik;
        sTime.TimeFormat = RTC_HOURFORMAT_24;

        HAL_RTC_SetTime(&hrtc, &sTime, RTC_FORMAT_BIN);
        printf("\n[RTC] Waktu berhasil disinkronkan dari ESP32 -> "
               "%02d:%02d:%02d\n",
               jam, menit, detik);
      }

      char *ptr_vpd = strstr(rxBuffer, "\"vpd\":");
      if (ptr_vpd != NULL)
        sscanf(ptr_vpd, "\"vpd\":%f", &current_vpd);

      char *ptr_soil = strstr(rxBuffer, "\"soil_moisture\":[");
      if (ptr_soil != NULL) {
        sscanf(ptr_soil, "\"soil_moisture\":[%f", &current_moisture);
      }

      if (ptr_vpd != NULL || ptr_soil != NULL) {
        dynamic_sp = compute_dynamic_sp(current_vpd);

        float error = dynamic_sp - current_moisture;
        const char *action = "idle";

        if (latch_dosing_event == 1 ||
            strcmp(status_mesin, "DOSING_AIR") == 0) {
          action = "watering";
          latch_dosing_event = 0;
        } else if (latch_nutrient_event == 1 ||
                   strcmp(status_mesin, "DISTRIBUSI_LAHAN") == 0) {
          action = "nutrient_dosing";
          latch_nutrient_event = 0;
        } else if (strcmp(status_mesin, "WAIT_ABSORPTION") == 0) {
          action = "within_deadband";
        } else if (error > DEADBAND_PCT) {
          action = "ready_to_water";
        } else {
          action = "within_deadband";
        }

        report_control_state(current_vpd, dynamic_sp, current_moisture, error,
                             action);
      }

      if (strstr(rxBuffer, "\"siram\":1") != NULL)
        flag_manual_air = 1;
      if (strstr(rxBuffer, "\"siram_nutrisi\":1") != NULL)
        flag_manual_nutrisi = 1;

      if (strstr(rxBuffer, "\"auto_mode\":1") != NULL) {
        is_auto_mode = 1;
        printf("\n[MODE] Beralih ke mode OTOMATIS\n");
      } else if (strstr(rxBuffer, "\"auto_mode\":0") != NULL) {
        is_auto_mode = 0;
        printf("\n[MODE] Beralih ke mode MANUAL\n");
      }

      memset(rxBuffer, 0, sizeof(rxBuffer));
      rxIndex = 0;
    }

    // ========================================================
    // 2. OUTBOUND (TX) - LAPOR STATUS MESIN & HEARTBEAT
    // ========================================================
    if ((osKernelSysTick() - last_tx_time) >= 5000) {
      uint32_t uptime_detik = osKernelSysTick() / 1000;
      uint32_t sisa_ram = xPortGetFreeHeapSize();

      sprintf(jsonTxBuffer,
              "{\"type\":\"heartbeat\",\"node\":\"SOGA-TANK-01\",\"status\":\"%"
              "s\",\"is_tank_empty\":%d,\"is_auto_mode\":%d,\"uptime\":%lu,"
              "\"free_heap\":%lu}\n",
              status_mesin, IsTankEmpty(), is_auto_mode, uptime_detik,
              sisa_ram);

      HAL_UART_Transmit(&huart1, (uint8_t *)jsonTxBuffer, strlen(jsonTxBuffer),
                        100);
      last_tx_time = osKernelSysTick();
    }

    osDelay(10);
  }
  /* USER CODE END StartTaskTelemetry */
}

void StartTaskIrrigation(void const *argument) {
  /* USER CODE BEGIN StartTaskIrrigation */
  /* Infinite loop */
  POMPA_OFF();
  VALVE_OFF_ALL();

  static uint8_t last_minute_triggered = 60;

  // ========================================================
  // [NEW] VARIABEL STATE MACHINE (NON-BLOCKING)
  // ========================================================
  static uint8_t is_waiting_absorption = 0;  // Flag status lagi nunggu resapan
  static uint32_t time_start_absorption = 0; // Catatan waktu mulai nunggu

  for (;;) {
    RTC_TimeTypeDef sTime;
    RTC_DateTypeDef sDate;

    HAL_RTC_GetTime(&hrtc, &sTime, RTC_FORMAT_BIN);
    HAL_RTC_GetDate(&hrtc, &sDate, RTC_FORMAT_BIN);

    // ========================================================
    // RULE 2: TRIGGER NUTRISI (Jalan Terus Tanpa Terblokir)
    // ========================================================
    if (((is_auto_mode && sTime.Minutes % 5 == 0) &&
         (sTime.Minutes != last_minute_triggered)) ||
        flag_manual_nutrisi) {

      last_minute_triggered = sTime.Minutes;

      strcpy(status_mesin, "DISTRIBUSI_LAHAN");
      latch_nutrient_event = 1; // Aktifkan latch agar telemetry mencatat
      printf(
          "\n[IRIGASI %02d:%02d:%02d] Waktunya Makan! Mulai Sekuens NUTRISI!\n",
          sTime.Hours, sTime.Minutes, sTime.Seconds);

      VALVE_ON(VALVE_AIR);
      VALVE_ON(VALVE_NUTRISI);
      printf("[IRIGASI] Nutrisi");
      osDelay(50); // Delay aktuasi 50ms sangat aman, tidak memblokir sistem
      VALVE_OFF(VALVE_AIR);
      VALVE_OFF(VALVE_NUTRISI);

      // LOGIKA ACK
      if (flag_manual_nutrisi == 1) {
        char ackBuffer[128];
        sprintf(ackBuffer,
                "{\"type\":\"ack\",\"node\":\"SOGA-TANK-01\",\"status\":"
                "\"DONE\",\"keterangan\":\"Siram Nutrisi Sukses\"}\n");
        HAL_UART_Transmit(&huart1, (uint8_t *)ackBuffer, strlen(ackBuffer),
                          100);
      }

      flag_manual_nutrisi = 0;

      // [PENTING] Kembalikan status mesin ke posisi semula
      if (is_waiting_absorption) {
        strcpy(status_mesin, "WAIT_ABSORPTION");
      } else {
        strcpy(status_mesin, "STANDBY");
      }
    }

    // ========================================================
    // RULE 1: TRIGGER AIR (NON-BLOCKING DWELL TIME)
    // ========================================================

    // CEK DULU: Apakah kita sedang dalam masa tunggu resapan air?
    if (is_waiting_absorption) {

      // Apakah DWELL_TIME (misal 15 menit) sudah terlewati?
      if ((osKernelSysTick() - time_start_absorption) >= DWELL_TIME_MS) {
        is_waiting_absorption = 0; // Lepas gemboknya
        strcpy(status_mesin, "STANDBY");
        mesin_sedang_menyiram = 0;
        printf(
            "\n[IRIGASI] Masa resapan selesai! Sensor siap membaca ulang.\n");
      }

    }
    // JIKA TIDAK SEDANG NUNGGU, evaluasi kelembapan tanah
    else {

      if ((is_auto_mode && current_moisture < (dynamic_sp - DEADBAND_PCT)) ||
          flag_manual_air) {
        strcpy(status_mesin, "DOSING_AIR");
        latch_dosing_event = 1;
        mesin_sedang_menyiram = 1;

        printf("\n[IRIGASI] Tanah Kering (%.1f%%). SP: %.1f%%. Mulai Sekuens "
               "AIR!\n",
               current_moisture, dynamic_sp);

        float error = dynamic_sp - current_moisture;
        if (error < 0)
          error = 0.0f;

        uint32_t durasi_siram_ms = (uint32_t)(error * 50.0f);
        if (durasi_siram_ms < 50)
          durasi_siram_ms = 50;
        if (durasi_siram_ms > 200)
          durasi_siram_ms = 200;

        VALVE_ON(VALVE_AIR);
        VALVE_ON(VALVE_NUTRISI);
        printf("[IRIGASI] Durasi time-proportional: %lu ms\n", durasi_siram_ms);
        osDelay(durasi_siram_ms); // Delay hitungan milidetik masih aman
        VALVE_OFF(VALVE_AIR);
        VALVE_OFF(VALVE_NUTRISI);

        if (flag_manual_air == 1) {
          char ackBuffer[128];
          sprintf(ackBuffer,
                  "{\"type\":\"ack\",\"node\":\"SOGA-TANK-01\",\"status\":"
                  "\"DONE\",\"keterangan\":\"Siram Air Sukses\"}\n");
          HAL_UART_Transmit(&huart1, (uint8_t *)ackBuffer, strlen(ackBuffer),
                            100);
        }

        flag_manual_air = 0;

        // =====================================================
        // INI PENGGANTI osDelay PANJANG YANG BIKIN HANG:
        // =====================================================
        is_waiting_absorption = 1;                 // Nyalakan penanda
        time_start_absorption = osKernelSysTick(); // Catat waktu mulainya
        strcpy(status_mesin, "WAIT_ABSORPTION");
      }
    }

    osDelay(1000); // 1 detik per tick (Loop bernapas, tidak memblokir)
  }
  /* USER CODE END StartTaskIrrigation */
}

void HAL_TIM_PeriodElapsedCallback(TIM_HandleTypeDef *htim) {
  if (htim->Instance == TIM5) {
    HAL_IncTick();
  }
}

void Error_Handler(void) {
  __disable_irq();
  while (1) {
  }
}
#ifdef USE_FULL_ASSERT
/**
 * @brief  Reports the name of the source file and the source line number
 *         where the assert_param error has occurred.
 * @param  file: pointer to the source file name
 * @param  line: assert_param error line source number
 * @retval None
 */
void assert_failed(uint8_t *file, uint32_t line) {
  /* USER CODE BEGIN 6 */
  /* User can add his own implementation to report the file name and line
     number, ex: printf("Wrong parameters value: file %s on line %d\r\n", file,
     line) */
  /* USER CODE END 6 */
}
#endif /* USE_FULL_ASSERT */
